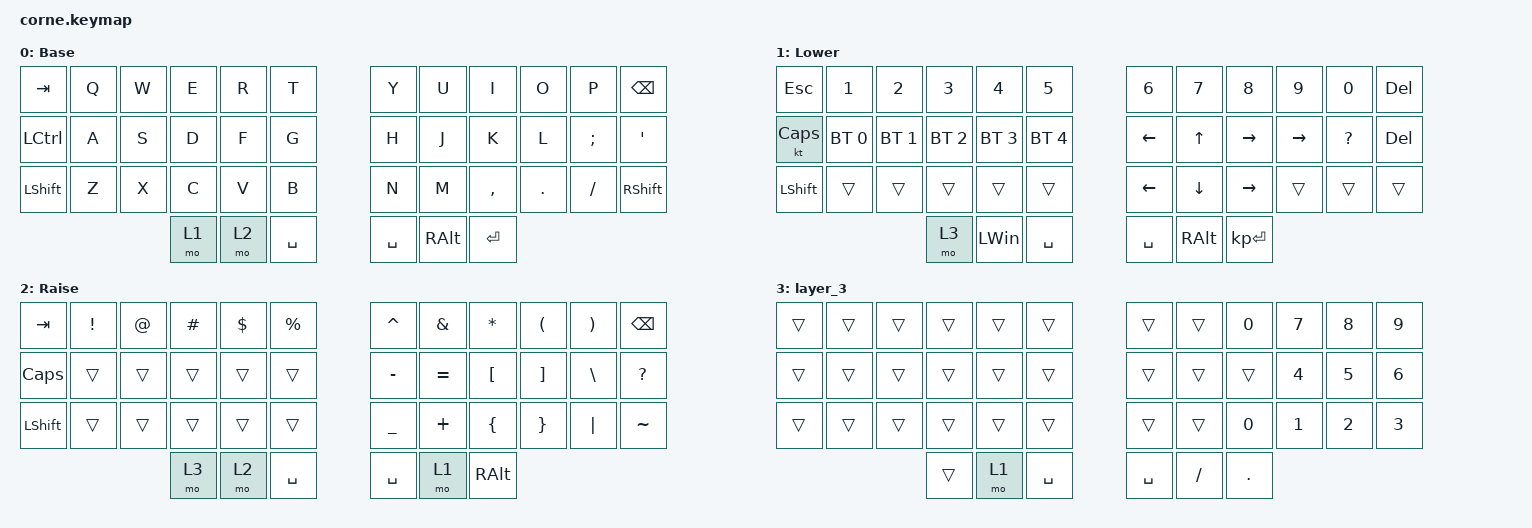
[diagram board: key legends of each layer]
/*
 * Copyright (c) 2020 The ZMK Contributors
 *
 * SPDX-License-Identifier: MIT
 */

#include <behaviors.dtsi>
#include <dt-bindings/zmk/bt.h>
#include <dt-bindings/zmk/keys.h>

/ {
    combos {
        compatible = "zmk,combos";

        alt {
            bindings = <&kp LEFT_ALT>;
            key-positions = <25 24>;
        };

        windows {
            bindings = <&kp RIGHT_WIN>;
            key-positions = <39 40>;
        };

        esc {
            bindings = <&kp ESCAPE>;
            key-positions = <0 1>;
        };
    };

    keymap {
        compatible = "zmk,keymap";

        default_layer {
            // -----------------------------------------------------------------------------------------
            // |  TAB |  Q  |  W  |  E  |  R  |  T  |   |  Y  |  U   |  I  |  O  |  P  | BKSP |
            // | CTRL |  A  |  S  |  D  |  F  |  G  |   |  H  |  J   |  K  |  L  |  ;  |  '   |
            // | SHFT |  Z  |  X  |  C  |  V  |  B  |   |  N  |  M   |  ,  |  .  |  /  | ESC  |
            //                    | GUI | LWR | SPC |   | ENT | RSE  | ALT |

            display-name = "Base";
            bindings = <
&kp TAB    &kp Q  &kp W  &kp E  &kp R  &kp T        &kp Y      &kp U          &kp I      &kp O    &kp P     &kp BSPC
&kp LCTRL  &kp A  &kp S  &kp D  &kp F  &kp G        &kp H      &kp J          &kp K      &kp L    &kp SEMI  &kp SQT
&kp LSHFT  &kp Z  &kp X  &kp C  &kp V  &kp B        &kp N      &kp M          &kp COMMA  &kp DOT  &kp FSLH  &kp RIGHT_SHIFT
                         &mo 1  &mo 2  &kp SPACE    &kp SPACE  &kp RIGHT_ALT  &kp ENTER
            >;
        };

        lower_layer {
            // -----------------------------------------------------------------------------------------
            // |  TAB |  1  |  2  |  3  |  4  |  5  |   |  6  |  7  |  8  |  9  |  0  | BKSP |
            // | BTCLR| BT1 | BT2 | BT3 | BT4 | BT5 |   | LFT | DWN |  UP | RGT |     |      |
            // | SHFT |     |     |     |     |     |   |     |     |     |     |     |      |
            //                    | GUI |     | SPC |   | ENT |     | ALT |

            display-name = "Lower";
            bindings = <
&kp ESC    &kp N1        &kp N2        &kp N3        &kp N4        &kp N5          &kp N6     &kp N7          &kp N8        &kp N9     &kp N0        &kp DEL
&kt CAPS   &bt BT_SEL 0  &bt BT_SEL 1  &bt BT_SEL 2  &bt BT_SEL 3  &bt BT_SEL 4    &kp LEFT   &kp UP_ARROW    &kp RIGHT     &kp RIGHT  &kp QUESTION  &kp DEL
&kp LSHFT  &trans        &trans        &trans        &trans        &trans          &kp LEFT   &kp DOWN_ARROW  &kp RIGHT     &trans     &trans        &trans
                                       &mo 3         &kp LEFT_WIN  &kp SPACE       &kp SPACE  &kp RIGHT_ALT   &kp KP_ENTER
            >;
        };

        raise_layer {
            // -----------------------------------------------------------------------------------------
            // |  TAB |  !  |  @  |  #  |  $  |  %  |   |  ^  |  &  |  *  |  (  |  )  | BKSP |
            // | CTRL |     |     |     |     |     |   |  -  |  =  |  [  |  ]  |  \  |  `   |
            // | SHFT |     |     |     |     |     |   |  _  |  +  |  {  |  }  | "|" |  ~   |
            //                    | GUI |     | SPC |   | ENT |     | ALT |

            display-name = "Raise";
            bindings = <
&kp TAB       &kp EXCL  &kp AT  &kp HASH  &kp DLLR  &kp PRCNT    &kp CARET  &kp AMPS   &kp ASTRK  &kp LPAR  &kp RPAR  &kp BSPC
&kp CAPSLOCK  &trans    &trans  &trans    &trans    &trans       &kp MINUS  &kp EQUAL  &kp LBKT   &kp RBKT  &kp BSLH  &kp QUESTION
&kp LSHFT     &trans    &trans  &trans    &trans    &trans       &kp UNDER  &kp PLUS   &kp LBRC   &kp RBRC  &kp PIPE  &kp TILDE
                                &mo 3     &mo 2     &kp SPACE    &kp SPACE  &mo 1      &kp RALT
            >;
        };

        layer_3 {
            bindings = <
&trans  &trans  &trans  &trans  &trans  &trans       &trans     &trans     &kp N0      &kp N7        &kp N8        &kp N9
&trans  &trans  &trans  &trans  &trans  &trans       &trans     &trans     &trans      &kp NUMBER_4  &kp N5        &kp NUMBER_6
&trans  &trans  &trans  &trans  &trans  &trans       &trans     &trans     &kp N0      &kp NUMBER_1  &kp NUMBER_2  &kp NUMBER_3
                        &trans  &mo 1   &kp SPACE    &kp SPACE  &kp SLASH  &kp PERIOD
            >;
        };
    };
};
